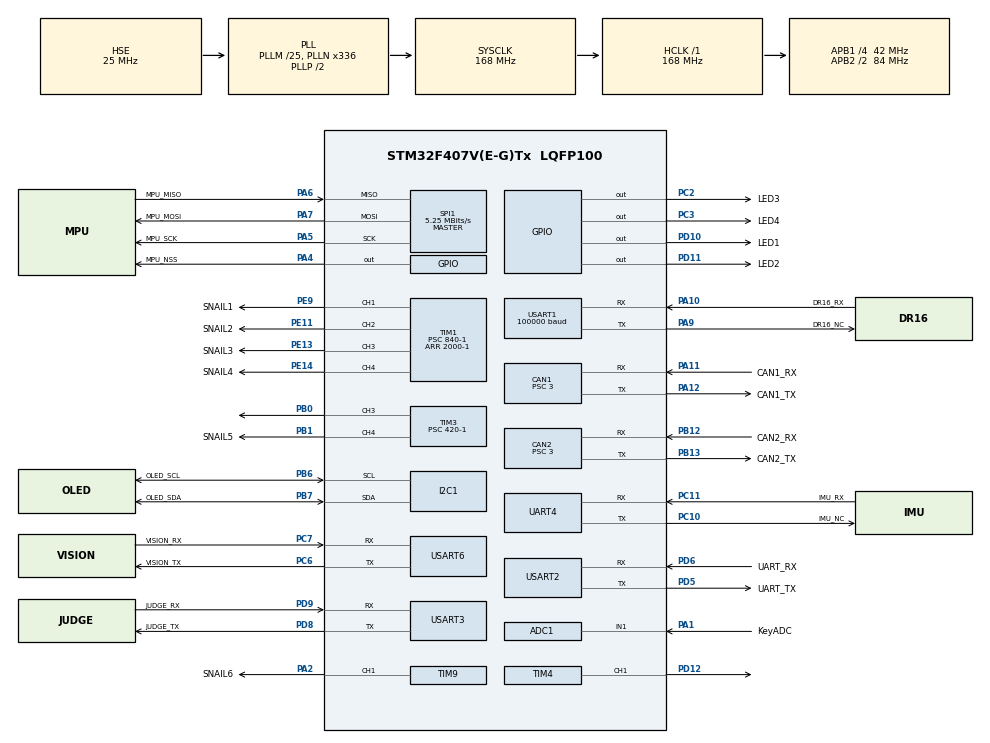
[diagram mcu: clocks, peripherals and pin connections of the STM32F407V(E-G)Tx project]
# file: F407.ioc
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ADC1.Channel-1\#ChannelRegularConversion=ADC_CHANNEL_1
ADC1.Channel-2\#ChannelInjectedConversion=ADC_CHANNEL_1
ADC1.InjNumberOfConversion=1
ADC1.InjectedOffset-2\#ChannelInjectedConversion=0
ADC1.InjectedRank-2\#ChannelInjectedConversion=1
ADC1.NbrOfConversion=1
ADC1.NbrOfConversionFlag=1
ADC1.Rank-1\#ChannelRegularConversion=1
ADC1.SamplingTime-1\#ChannelRegularConversion=ADC_SAMPLETIME_3CYCLES
ADC1.SamplingTime-2\#ChannelInjectedConversion=ADC_SAMPLETIME_3CYCLES
ADC1.master=1
CAN1.BS1=CAN_BS1_10TQ
CAN1.BS2=CAN_BS2_4TQ
CAN1.CalculateBaudRate=933333
CAN1.CalculateTimeBit=1071.42
CAN1.CalculateTimeQuantum=71.42857142857143
CAN1.Prescaler=3
CAN2.BS1=CAN_BS1_10TQ
CAN2.BS2=CAN_BS2_4TQ
CAN2.CalculateBaudRate=933333
CAN2.CalculateTimeBit=1071.42
CAN2.CalculateTimeQuantum=71.42857142857143
CAN2.Prescaler=3
CAN2.SJW=CAN_SJW_1TQ
Dma.Request0=USART1_RX
Dma.Request1=USART3_RX
Dma.Request2=USART3_TX
Dma.USART1_RX.0.Direction=DMA_PERIPH_TO_MEMORY
Dma.USART1_RX.0.FIFOMode=DMA_FIFOMODE_DISABLE
Dma.USART1_RX.0.Instance=DMA2_Stream2
Dma.USART1_RX.0.MemDataAlignment=DMA_MDATAALIGN_BYTE
Dma.USART1_RX.0.MemInc=DMA_MINC_ENABLE
Dma.USART1_RX.0.Mode=DMA_CIRCULAR
Dma.USART1_RX.0.PeriphDataAlignment=DMA_PDATAALIGN_BYTE
Dma.USART1_RX.0.PeriphInc=DMA_PINC_DISABLE
Dma.USART1_RX.0.Priority=DMA_PRIORITY_VERY_HIGH
Dma.USART3_RX.1.Direction=DMA_PERIPH_TO_MEMORY
Dma.USART3_RX.1.FIFOMode=DMA_FIFOMODE_DISABLE
Dma.USART3_RX.1.Instance=DMA1_Stream1
Dma.USART3_RX.1.MemDataAlignment=DMA_MDATAALIGN_BYTE
Dma.USART3_RX.1.MemInc=DMA_MINC_ENABLE
Dma.USART3_RX.1.Mode=DMA_CIRCULAR
Dma.USART3_RX.1.PeriphDataAlignment=DMA_PDATAALIGN_BYTE
Dma.USART3_RX.1.PeriphInc=DMA_PINC_DISABLE
Dma.USART3_RX.1.Priority=DMA_PRIORITY_MEDIUM
Dma.USART3_TX.2.Direction=DMA_MEMORY_TO_PERIPH
Dma.USART3_TX.2.FIFOMode=DMA_FIFOMODE_DISABLE
Dma.USART3_TX.2.Instance=DMA1_Stream3
Dma.USART3_TX.2.MemDataAlignment=DMA_MDATAALIGN_BYTE
Dma.USART3_TX.2.MemInc=DMA_MINC_ENABLE
Dma.USART3_TX.2.Mode=DMA_NORMAL
Dma.USART3_TX.2.PeriphDataAlignment=DMA_PDATAALIGN_BYTE
Dma.USART3_TX.2.PeriphInc=DMA_PINC_DISABLE
Dma.USART3_TX.2.Priority=DMA_PRIORITY_MEDIUM
FREERTOS.Queues01=RDtHMsg,16,uint32_t,0,Dynamic,NULL,NULL;RDtCMsg,16,uint32_t,0,Dynamic,NULL,NULL;RDtSMsg,16,uint32_t,0,Dynamic,NULL,NULL;HDtHMsg,16,uint32_t,0,Dynamic,NULL,NULL
FREERTOS.Tasks01=LED,-3,64,taskLED,Default,NULL,Dynamic,NULL,NULL;MSG,2,128,taskMsg,Default,NULL,Dynamic,NULL,NULL;UI,-1,128,taskUI,Default,NULL,Dynamic,NULL,NULL;KEY,-1,128,taskKey,Default,NULL,Dynamic,NULL,NULL;Chassis,3,512,taskChassis,Default,NULL,Dynamic,NULL,NULL;Holder,3,512,taskHolder,Default,NULL,Dynamic,NULL,NULL;Shoot,3,512,taskShoot,Default,NULL,Dynamic,NULL,NULL;Judge,2,1024,taskJudge,Default,NULL,Dynamic,NULL,NULL
FREERTOS.configENABLE_FPU=1
FREERTOS.configMAX_PRIORITIES=7
FREERTOS.configMINIMAL_STACK_SIZE=64
FREERTOS.configQUEUE_REGISTRY_SIZE=16
I2C1.DualAddressMode=I2C_DUALADDRESS_DISABLE
I2C1.I2C_Mode=I2C_Fast
I2C1.OwnAddress=0
IWDG.Reload=3000
Mcu.Family=STM32F4
Mcu.Name=STM32F407V(E-G)Tx
Mcu.Package=LQFP100
NVIC.CAN1_RX0_IRQn=true\:5\:0\:false\:false\:true\:true\:true\:true
NVIC.CAN1_TX_IRQn=true\:5\:0\:false\:false\:true\:true\:true\:true
NVIC.CAN2_RX0_IRQn=true\:5\:0\:false\:false\:true\:true\:true\:true
NVIC.CAN2_TX_IRQn=true\:5\:0\:false\:false\:true\:true\:true\:true
NVIC.DMA1_Stream1_IRQn=true\:5\:0\:false\:false\:true\:true\:false\:true
NVIC.DMA1_Stream3_IRQn=true\:5\:0\:false\:false\:true\:true\:false\:true
NVIC.DMA2_Stream2_IRQn=true\:5\:0\:false\:false\:true\:true\:false\:true
NVIC.PriorityGroup=NVIC_PRIORITYGROUP_4
NVIC.TIM6_DAC_IRQn=true\:0\:0\:false\:false\:true\:false\:false\:true
NVIC.TIM7_IRQn=true\:1\:0\:true\:false\:true\:false\:true\:true
NVIC.TIM8_TRG_COM_TIM14_IRQn=true\:5\:0\:false\:false\:true\:true\:true\:true
NVIC.TimeBase=TIM6_DAC_IRQn
NVIC.TimeBaseIP=TIM6
NVIC.UART4_IRQn=true\:5\:0\:false\:false\:true\:false\:true\:true
NVIC.USART1_IRQn=true\:0\:0\:true\:false\:true\:false\:true\:true
NVIC.USART2_IRQn=true\:0\:0\:true\:false\:true\:false\:true\:true
NVIC.USART3_IRQn=true\:5\:0\:true\:false\:true\:true\:true\:true
NVIC.USART6_IRQn=true\:5\:0\:false\:false\:true\:true\:true\:true
PA1.GPIO_Label=KeyADC
PA1.Signal=ADCx_IN1
PA10.GPIO_Label=DR16_RX
PA10.Mode=Asynchronous
PA10.Signal=USART1_RX
PA11.GPIO_Label=CAN1_RX
PA11.Mode=CAN_Activate
PA11.Signal=CAN1_RX
PA12.GPIO_Label=CAN1_TX
PA12.Mode=CAN_Activate
PA12.Signal=CAN1_TX
PA13.GPIO_Label=SWDIO
PA13.Mode=Serial_Wire
PA13.Signal=SYS_JTMS-SWDIO
PA14.GPIO_Label=SWCLK
PA14.Mode=Serial_Wire
PA14.Signal=SYS_JTCK-SWCLK
PA2.GPIO_Label=SNAIL6
PA2.Signal=S_TIM9_CH1
PA4.GPIO_Label=MPU_NSS
PA4.GPIO_PuPd=GPIO_PULLUP
PA4.GPIO_Speed=GPIO_SPEED_FREQ_HIGH
PA4.Signal=GPIO_Output
PA5.GPIO_Label=MPU_SCK
PA5.Mode=Full_Duplex_Master
PA5.Signal=SPI1_SCK
PA6.GPIO_Label=MPU_MISO
PA6.Mode=Full_Duplex_Master
PA6.Signal=SPI1_MISO
PA7.GPIO_Label=MPU_MOSI
PA7.Mode=Full_Duplex_Master
PA7.Signal=SPI1_MOSI
PA9.GPIO_Label=DR16_NC
PA9.Mode=Asynchronous
PA9.Signal=USART1_TX
PB0.Signal=S_TIM3_CH3
PB1.GPIO_Label=SNAIL5
PB1.Signal=S_TIM3_CH4
PB12.GPIO_Label=CAN2_RX
PB12.Mode=CAN_Activate
PB12.Signal=CAN2_RX
PB13.GPIO_Label=CAN2_TX
PB13.Mode=CAN_Activate
PB13.Signal=CAN2_TX
PB6.GPIO_Label=OLED_SCL
PB6.Mode=I2C
PB6.Signal=I2C1_SCL
PB7.GPIO_Label=OLED_SDA
PB7.Mode=I2C
PB7.Signal=I2C1_SDA
PC10.GPIO_Label=IMU_NC
PC10.Mode=Asynchronous
PC10.Signal=UART4_TX
PC11.GPIO_Label=IMU_RX
PC11.Mode=Asynchronous
PC11.Signal=UART4_RX
PC2.GPIO_Label=LED3
PC2.GPIO_PuPd=GPIO_PULLUP
PC2.GPIO_Speed=GPIO_SPEED_FREQ_HIGH
PC2.Signal=GPIO_Output
PC3.GPIO_Label=LED4
PC3.GPIO_PuPd=GPIO_PULLUP
PC3.GPIO_Speed=GPIO_SPEED_FREQ_HIGH
PC3.Signal=GPIO_Output
PC6.GPIO_Label=VISION_TX
PC6.Mode=Asynchronous
PC6.Signal=USART6_TX
PC7.GPIO_Label=VISION_RX
PC7.Mode=Asynchronous
PC7.Signal=USART6_RX
PD10.GPIO_Label=LED1
PD10.GPIO_PuPd=GPIO_PULLUP
PD10.GPIO_Speed=GPIO_SPEED_FREQ_HIGH
PD10.Signal=GPIO_Output
PD11.GPIO_Label=LED2
PD11.GPIO_PuPd=GPIO_PULLUP
PD11.GPIO_Speed=GPIO_SPEED_FREQ_HIGH
PD11.Signal=GPIO_Output
PD12.Signal=S_TIM4_CH1
PD5.GPIO_Label=UART_TX
PD5.Mode=Asynchronous
PD5.Signal=USART2_TX
PD6.GPIO_Label=UART_RX
PD6.Mode=Asynchronous
PD6.Signal=USART2_RX
PD8.GPIO_Label=JUDGE_TX
PD8.Mode=Asynchronous
PD8.Signal=USART3_TX
PD9.GPIO_Label=JUDGE_RX
PD9.Mode=Asynchronous
PD9.Signal=USART3_RX
PE11.GPIO_Label=SNAIL2
PE11.Signal=S_TIM1_CH2
PE13.GPIO_Label=SNAIL3
PE13.Signal=S_TIM1_CH3
PE14.GPIO_Label=SNAIL4
PE14.Signal=S_TIM1_CH4
PE9.GPIO_Label=SNAIL1
PE9.Signal=S_TIM1_CH1
PH0-OSC_IN.GPIO_Label=OSC_IN
PH0-OSC_IN.Mode=HSE-External-Oscillator
PH0-OSC_IN.Signal=RCC_OSC_IN
PH1-OSC_OUT.GPIO_Label=OSC_OUT
PH1-OSC_OUT.Mode=HSE-External-Oscillator
PH1-OSC_OUT.Signal=RCC_OSC_OUT
ProjectManager.HeapSize=0x200
ProjectManager.StackSize=0x400
ProjectManager.TargetToolchain=MDK-ARM V5.27
RCC.48MHZClocksFreq_Value=84000000
RCC.AHBFreq_Value=168000000
RCC.APB1CLKDivider=RCC_HCLK_DIV4
RCC.APB1Freq_Value=42000000
RCC.APB1TimFreq_Value=84000000
RCC.APB2CLKDivider=RCC_HCLK_DIV2
RCC.APB2Freq_Value=84000000
RCC.APB2TimFreq_Value=168000000
RCC.CortexFreq_Value=168000000
RCC.HCLKFreq_Value=168000000
RCC.HSE_VALUE=25000000
RCC.HSI_VALUE=16000000
RCC.LSE_VALUE=32768
RCC.PLLM=25
RCC.PLLN=336
RCC.PLLSourceVirtual=RCC_PLLSOURCE_HSE
RCC.SYSCLKFreq_VALUE=168000000
RCC.SYSCLKSource=RCC_SYSCLKSOURCE_PLLCLK
RCC.VCOOutputFreq_Value=336000000
SH.ADCx_IN1.0=ADC1_IN1,IN1
SH.S_TIM1_CH1.0=TIM1_CH1,PWM Generation1 CH1
SH.S_TIM1_CH2.0=TIM1_CH2,PWM Generation2 CH2
SH.S_TIM1_CH3.0=TIM1_CH3,PWM Generation3 CH3
SH.S_TIM1_CH4.0=TIM1_CH4,PWM Generation4 CH4
SH.S_TIM3_CH3.0=TIM3_CH3,PWM Generation3 CH3
SH.S_TIM3_CH4.0=TIM3_CH4,PWM Generation4 CH4
SH.S_TIM4_CH1.0=TIM4_CH1,PWM Generation1 CH1
SH.S_TIM9_CH1.0=TIM9_CH1,PWM Generation1 CH1
SPI1.BaudRatePrescaler=SPI_BAUDRATEPRESCALER_16
SPI1.CLKPhase=SPI_PHASE_2EDGE
SPI1.CLKPolarity=SPI_POLARITY_HIGH
SPI1.CRCCalculation=SPI_CRCCALCULATION_DISABLE
SPI1.CalculateBaudRate=5.25 MBits/s
SPI1.Direction=SPI_DIRECTION_2LINES
SPI1.Mode=SPI_MODE_MASTER
SPI1.VirtualType=VM_MASTER
TIM1.Channel-PWM\ Generation1\ CH1=TIM_CHANNEL_1
TIM1.Channel-PWM\ Generation2\ CH2=TIM_CHANNEL_2
TIM1.Channel-PWM\ Generation3\ CH3=TIM_CHANNEL_3
TIM1.Channel-PWM\ Generation4\ CH4=TIM_CHANNEL_4
TIM1.Period=2000-1
TIM1.Prescaler=840-1
TIM1.Pulse-PWM\ Generation1\ CH1=1000
TIM1.Pulse-PWM\ Generation2\ CH2=1000
TIM1.Pulse-PWM\ Generation3\ CH3=1000
TIM1.Pulse-PWM\ Generation4\ CH4=1000
TIM14.Period=2500-1
TIM14.Prescaler=8400-1
TIM3.Channel-PWM\ Generation3\ CH3=TIM_CHANNEL_3
TIM3.Channel-PWM\ Generation4\ CH4=TIM_CHANNEL_4
TIM3.Period=2000-1
TIM3.Prescaler=420-1
TIM3.Pulse-PWM\ Generation4\ CH4=1000
TIM4.Channel-PWM\ Generation1\ CH1=TIM_CHANNEL_1
TIM4.Period=4000
TIM4.Prescaler=84-1
TIM7.Period=65536-1
TIM7.Prescaler=84-1
TIM9.Channel-PWM\ Generation1\ CH1=TIM_CHANNEL_1
TIM9.Period=2000-1
TIM9.Prescaler=840-1
TIM9.Pulse-PWM\ Generation1\ CH1=1000
UART4.VirtualMode=Asynchronous
USART1.BaudRate=100000
USART1.Mode=MODE_RX
USART1.Parity=PARITY_EVEN
USART1.VirtualMode=VM_ASYNC
USART1.WordLength=WORDLENGTH_9B
USART2.VirtualMode=VM_ASYNC
USART3.VirtualMode=VM_ASYNC
USART6.VirtualMode=VM_ASYNC
VP_FREERTOS_VS_CMSIS_V1.Mode=CMSIS_V1
VP_IWDG_VS_IWDG.Mode=IWDG_Activate
VP_SYS_VS_tim6.Mode=TIM6
VP_TIM14_VS_ClockSourceINT.Mode=Enable_Timer
VP_TIM7_VS_ClockSourceINT.Mode=Enable_Timer
board=custom

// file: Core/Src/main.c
/* USER CODE BEGIN Header */
/**
  ******************************************************************************
  * @file           : main.c
  * @brief          : Main program body
  ******************************************************************************
  * @attention
  *
  * <h2><center>&copy; Copyright (c) 2020 STMicroelectronics.
  * All rights reserved.</center></h2>
  *
  * This software component is licensed by ST under Ultimate Liberty license
  * SLA0044, the "License"; You may not use this file except in compliance with
  * the License. You may obtain a copy of the License at:
  *                             www.st.com/SLA0044
  *
  ******************************************************************************
  */
/* USER CODE END Header */
#include "main.h"
#include "cmsis_os.h"
#include "adc.h"
#include "can.h"
#include "dma.h"
#include "i2c.h"
#include "iwdg.h"
#include "spi.h"
#include "tim.h"
#include "usart.h"
#include "gpio.h"
#include "shoot.h"
extern SHOOT_T M2006_ID4;
/* USER CODE BEGIN Includes */
#include "judge.h"
#include "vision.h"
#include "mpu6500.h"
#include "oled.h"
#include <string.h>
#include "judge_tx.h"
#include "iwdg.h"
#include "holder.h"
#include "chassis.h"
/* USER CODE END Includes */

void SystemClock_Config(void);
void MX_FREERTOS_Init(void);

int main(void)
{

  /* MCU Configuration--------------------------------------------------------*/

  /* Reset of all peripherals, Initializes the Flash interface and the Systick. */
  HAL_Init();

  /* Configure the system clock */
  SystemClock_Config();

  /* Initialize all configured peripherals */
  MX_GPIO_Init();
  MX_DMA_Init();
  MX_USART1_UART_Init();
  MX_USART2_UART_Init();
  MX_CAN1_Init();
  MX_CAN2_Init();
  MX_I2C1_Init();
  MX_UART4_Init();
  MX_SPI1_Init();
  MX_TIM7_Init();
  MX_TIM14_Init();
  MX_ADC1_Init();
  MX_TIM1_Init();
  MX_USART3_UART_Init();
  MX_USART6_UART_Init();
  MX_TIM4_Init();
  MX_IWDG_Init();
  MX_TIM3_Init();
  MX_TIM9_Init();
  /* USER CODE BEGIN 2 */
  TIM14_START();
  UART1_RemoteStart();
  CAN1_FilterInit();
  CAN2_FilterInit();
  UART4_IMUStart();
  UART3_JudgeStart();
  UART6_VisionStart();
  TIM1_PWMSTART();
  TIM3_PWMSTART();
  TIM9_PWMSTART();
  TIM4_PWMSTART();
  ADC1_IN1START();
  OLED_Init();
  MX_IWDG_Init();
  /* USER CODE END 2 */

  /* Call init function for freertos objects (in freertos.c) */
  MX_FREERTOS_Init();
  /* Start scheduler */
  osKernelStart();

  /* We should never get here as control is now taken by the scheduler */
  /* Infinite loop */
  while (1)
  {

  }
}

void SystemClock_Config(void)
{
  RCC_OscInitTypeDef RCC_OscInitStruct = {0};
  RCC_ClkInitTypeDef RCC_ClkInitStruct = {0};

  /** Configure the main internal regulator output voltage
  */
  __HAL_RCC_PWR_CLK_ENABLE();
  __HAL_PWR_VOLTAGESCALING_CONFIG(PWR_REGULATOR_VOLTAGE_SCALE1);
  /** Initializes the RCC Oscillators according to the specified parameters
  * in the RCC_OscInitTypeDef structure.
  */
  RCC_OscInitStruct.OscillatorType = RCC_OSCILLATORTYPE_LSI|RCC_OSCILLATORTYPE_HSE;
  RCC_OscInitStruct.HSEState = RCC_HSE_ON;
  RCC_OscInitStruct.LSIState = RCC_LSI_ON;
  RCC_OscInitStruct.PLL.PLLState = RCC_PLL_ON;
  RCC_OscInitStruct.PLL.PLLSource = RCC_PLLSOURCE_HSE;
  RCC_OscInitStruct.PLL.PLLM = 25;
  RCC_OscInitStruct.PLL.PLLN = 336;
  RCC_OscInitStruct.PLL.PLLP = RCC_PLLP_DIV2;
  RCC_OscInitStruct.PLL.PLLQ = 4;
  if (HAL_RCC_OscConfig(&RCC_OscInitStruct) != HAL_OK)
  {
    Error_Handler();
  }
  /** Initializes the CPU, AHB and APB buses clocks
  */
  RCC_ClkInitStruct.ClockType = RCC_CLOCKTYPE_HCLK|RCC_CLOCKTYPE_SYSCLK
                              |RCC_CLOCKTYPE_PCLK1|RCC_CLOCKTYPE_PCLK2;
  RCC_ClkInitStruct.SYSCLKSource = RCC_SYSCLKSOURCE_PLLCLK;
  RCC_ClkInitStruct.AHBCLKDivider = RCC_SYSCLK_DIV1;
  RCC_ClkInitStruct.APB1CLKDivider = RCC_HCLK_DIV4;
  RCC_ClkInitStruct.APB2CLKDivider = RCC_HCLK_DIV2;

  if (HAL_RCC_ClockConfig(&RCC_ClkInitStruct, FLASH_LATENCY_5) != HAL_OK)
  {
    Error_Handler();
  }
}

 /**
  * @brief  Period elapsed callback in non blocking mode
  * @note   This function is called  when TIM6 interrupt took place, inside
  * HAL_TIM_IRQHandler(). It makes a direct call to HAL_IncTick() to increment
  * a global variable "uwTick" used as application time base.
  * @param  htim : TIM handle
  * @retval None
  */
void HAL_TIM_PeriodElapsedCallback(TIM_HandleTypeDef *htim)
{
  if (htim->Instance == TIM6) {
    HAL_IncTick();
  }
  /* USER CODE BEGIN Callback 1 */
  if (htim->Instance == TIM14) {
    Observer.Tx = Observer.Rx;
    memset(&Observer.Rx,0,sizeof(rate_t));
	HAL_IWDG_Refresh(&hiwdg);
  }
  /* USER CODE END Callback 1 */
}

void Error_Handler(void)
{
}

/************************ (C) COPYRIGHT STMicroelectronics *****END OF FILE****/

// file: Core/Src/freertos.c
/* USER CODE BEGIN Header */
/**
  ******************************************************************************
  * File Name          : freertos.c
  * Description        : Code for freertos applications
  ******************************************************************************
  * @attention
  *
  * <h2><center>&copy; Copyright (c) 2020 STMicroelectronics.
  * All rights reserved.</center></h2>
  *
  * This software component is licensed by ST under Ultimate Liberty license
  * SLA0044, the "License"; You may not use this file except in compliance with
  * the License. You may obtain a copy of the License at:
  *                             www.st.com/SLA0044
  *
  ******************************************************************************
  */
/* USER CODE END Header */

#include "FreeRTOS.h"
#include "task.h"
#include "main.h"
#include "cmsis_os.h"

/* USER CODE BEGIN Includes */
#include "usart.h"
#include "tim.h"
#include "ui.h"
#include "message.h"
#include "judge.h"
#include "vision.h"
#include "holder.h"
#include "chassis.h"
#include "shoot.h"
/* USER CODE END Includes */

/* USER CODE BEGIN Variables */
osEvent evt;
/* USER CODE END Variables */
osThreadId LEDHandle;
osThreadId MSGHandle;
osThreadId UIHandle;
osThreadId KEYHandle;
osThreadId ChassisHandle;
osThreadId HolderHandle;
osThreadId ShootHandle;
osThreadId JudgeHandle;
osMessageQId RDtHMsgHandle;
osMessageQId RDtCMsgHandle;
osMessageQId RDtSMsgHandle;
osMessageQId HDtHMsgHandle;

void taskLED(void const * argument);
void taskMsg(void const * argument);
void taskUI(void const * argument);
void taskKey(void const * argument);
void taskChassis(void const * argument);
void taskHolder(void const * argument);
void taskShoot(void const * argument);
void taskJudge(void const * argument);

void MX_FREERTOS_Init(void); /* (MISRA C 2004 rule 8.1) */

/* GetIdleTaskMemory prototype (linked to static allocation support) */
void vApplicationGetIdleTaskMemory( StaticTask_t **ppxIdleTaskTCBBuffer, StackType_t **ppxIdleTaskStackBuffer, uint32_t *pulIdleTaskStackSize );

/* USER CODE BEGIN GET_IDLE_TASK_MEMORY */
static StaticTask_t xIdleTaskTCBBuffer;
static StackType_t xIdleStack[configMINIMAL_STACK_SIZE];

void vApplicationGetIdleTaskMemory(StaticTask_t **ppxIdleTaskTCBBuffer, StackType_t **ppxIdleTaskStackBuffer, uint32_t *pulIdleTaskStackSize)
{
    *ppxIdleTaskTCBBuffer = &xIdleTaskTCBBuffer;
    *ppxIdleTaskStackBuffer = &xIdleStack[0];
    *pulIdleTaskStackSize = configMINIMAL_STACK_SIZE;
    /* place for user code */
}
/* USER CODE END GET_IDLE_TASK_MEMORY */

void MX_FREERTOS_Init(void) {

  /* Create the queue(s) */
  /* definition and creation of RDtHMsg */
  osMessageQDef(RDtHMsg, 16, uint32_t);
  RDtHMsgHandle = osMessageCreate(osMessageQ(RDtHMsg), NULL);

  /* definition and creation of RDtCMsg */
  osMessageQDef(RDtCMsg, 16, uint32_t);
  RDtCMsgHandle = osMessageCreate(osMessageQ(RDtCMsg), NULL);

  /* definition and creation of RDtSMsg */
  osMessageQDef(RDtSMsg, 16, uint32_t);
  RDtSMsgHandle = osMessageCreate(osMessageQ(RDtSMsg), NULL);

  /* definition and creation of HDtHMsg */
  osMessageQDef(HDtHMsg, 16, uint32_t);
  HDtHMsgHandle = osMessageCreate(osMessageQ(HDtHMsg), NULL);

  /* Create the thread(s) */
  /* definition and creation of LED */
  osThreadDef(LED, taskLED, osPriorityIdle, 0, 64);
  LEDHandle = osThreadCreate(osThread(LED), NULL);

  /* definition and creation of MSG */
  osThreadDef(MSG, taskMsg, osPriorityHigh, 0, 128);
  MSGHandle = osThreadCreate(osThread(MSG), NULL);

  /* definition and creation of UI */
  osThreadDef(UI, taskUI, osPriorityBelowNormal, 0, 128);
  UIHandle = osThreadCreate(osThread(UI), NULL);

  /* definition and creation of KEY */
  osThreadDef(KEY, taskKey, osPriorityBelowNormal, 0, 128);
  KEYHandle = osThreadCreate(osThread(KEY), NULL);

  /* definition and creation of Chassis */
  osThreadDef(Chassis, taskChassis, osPriorityRealtime, 0, 512);
  ChassisHandle = osThreadCreate(osThread(Chassis), NULL);

  /* definition and creation of Holder */
  osThreadDef(Holder, taskHolder, osPriorityRealtime, 0, 512);
  HolderHandle = osThreadCreate(osThread(Holder), NULL);

  /* definition and creation of Shoot */
  osThreadDef(Shoot, taskShoot, osPriorityRealtime, 0, 512);
  ShootHandle = osThreadCreate(osThread(Shoot), NULL);

  /* definition and creation of Judge */
  osThreadDef(Judge, taskJudge, osPriorityHigh, 0, 1024);
  JudgeHandle = osThreadCreate(osThread(Judge), NULL);

}

void taskLED(void const * argument)
{
  /* USER CODE BEGIN taskLED */
    HAL_GPIO_WritePin(GPIOD, LED1_Pin, GPIO_PIN_RESET);
    HAL_GPIO_WritePin(GPIOD, LED2_Pin, GPIO_PIN_SET);
    HAL_GPIO_WritePin(GPIOC, LED3_Pin, GPIO_PIN_RESET);
    HAL_GPIO_WritePin(GPIOC, LED4_Pin, GPIO_PIN_SET);
    REMOTE_DATA_T *RDMsg;

    /* Infinite loop */
    for (;;)
    {
        HAL_GPIO_TogglePin(GPIOD, LED1_Pin);
        HAL_GPIO_TogglePin(GPIOD, LED2_Pin);
        HAL_GPIO_TogglePin(GPIOC, LED3_Pin);
        HAL_GPIO_TogglePin(GPIOC, LED4_Pin);

        uint8_t id = (uint8_t)JUDGE_u8GetRobotId();

        evt = osMessageGet(RDtCMsgHandle,0);
        if(evt.status == osEventMessage)
        {
            RDMsg = (REMOTE_DATA_T*)evt.value.v;
        }

//        Vision_SendData(*RDMsg);

        osDelay(5);
    }
  /* USER CODE END taskLED */
}

void taskMsg(void const * argument)
{
  /* USER CODE BEGIN taskMsg */
    /* Infinite loop */
    for (;;)
    {
        REMOTE_DATA_T RDMsg;
        HOLDER_DATA_T HDMsg;
        RemoteDataMsg_Process(&RDMsg);
        HolderDataMsg_Process(&HDMsg);
        osMessagePut(RDtHMsgHandle, (uint32_t)&RDMsg, 0);
        osMessagePut(RDtCMsgHandle, (uint32_t)&RDMsg, 0);
        osMessagePut(HDtHMsgHandle, (uint32_t)&HDMsg, 0);
        osMessagePut(RDtSMsgHandle, (uint32_t)&RDMsg, 0);
        osDelay(10);
    }
  /* USER CODE END taskMsg */
}

void taskUI(void const * argument)
{
  /* USER CODE BEGIN taskUI */
    UI_Init();
    /* Infinite loop */
    for (;;)
    {
        UI_Process();
        osDelay(10);
    }
  /* USER CODE END taskUI */
}

void taskKey(void const * argument)
{
  /* USER CODE BEGIN taskKey */
    /* Infinite loop */
    for (;;)
    {
        Key_Process();
        osDelay(10);
    }
  /* USER CODE END taskKey */
}

void taskChassis(void const * argument)
{
  /* USER CODE BEGIN taskChassis */
    REMOTE_DATA_T *RDMsg;
    Chassis_Init();
    /* Infinite loop */
    for(;;)
    {
        evt = osMessageGet(RDtCMsgHandle,0);
        if(evt.status == osEventMessage)
        {
            RDMsg = (REMOTE_DATA_T*)evt.value.v;
        }
        Chassis_Process(*RDMsg);
        osDelay(5);
    }
  /* USER CODE END taskChassis */
}

void taskHolder(void const * argument)
{
  /* USER CODE BEGIN taskHolder */
    osDelay(500);
    HOLDER_DATA_T *HDMsg;
    REMOTE_DATA_T *RDMsg;
    evt = osMessageGet(HDtHMsgHandle,0);
    if(evt.status == osEventMessage)
    {
        HDMsg = (HOLDER_DATA_T*)evt.value.v;
    }

    Holder_Init(*HDMsg);
    /* Infinite loop */
    for(;;)
    {
        evt = osMessageGet(HDtHMsgHandle,0);
        if(evt.status == osEventMessage)
        {
            HDMsg = (HOLDER_DATA_T*)evt.value.v;
        }
        evt = osMessageGet(RDtHMsgHandle,0);
        if(evt.status == osEventMessage)
        {
            RDMsg = (REMOTE_DATA_T*)evt.value.v;
        }
        Holder_Process(*HDMsg,*RDMsg);
				UART2_SendWave(4, 4, &Holder.Pitch.tar_angle, &Holder.Pitch.angle,
                            &Holder.Pitch.tar_speed, &Holder.Pitch.speed);
        osDelay(1);
    }
  /* USER CODE END taskHolder */
}

void taskShoot(void const * argument)
{
  /* USER CODE BEGIN taskShoot */
    REMOTE_DATA_T *RDMsg;
    Shoot_PidInit();
    /* Infinite loop */
    for (;;)
    {
        evt = osMessageGet(RDtSMsgHandle, 0);
        if (evt.status == osEventMessage)
        {
            RDMsg = (REMOTE_DATA_T *)evt.value.v;
        }
     //   Shoot_Process(*RDMsg);
        osDelay(1);
    }
  /* USER CODE END taskShoot */
}

void taskJudge(void const * argument)
{
  /* USER CODE BEGIN taskJudge */
    Judge_InitData();
    /* Infinite loop */
    for (;;)
    {
        Judge_Proccess();
        osDelay(10);
    }
  /* USER CODE END taskJudge */
}

/************************ (C) COPYRIGHT STMicroelectronics *****END OF FILE****/
